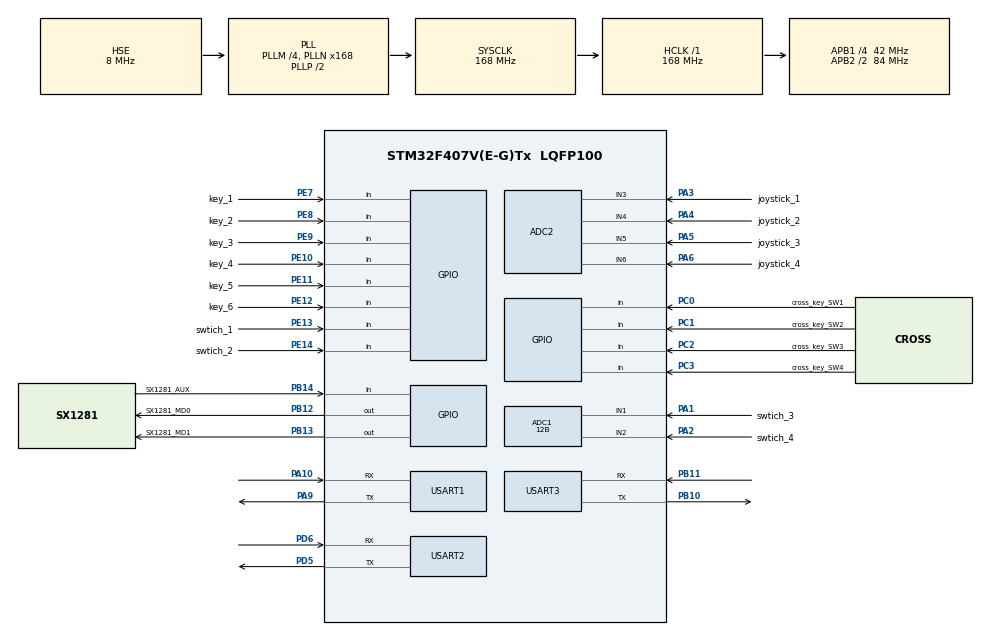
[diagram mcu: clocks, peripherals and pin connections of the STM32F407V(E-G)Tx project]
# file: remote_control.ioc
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ADC1.Channel-3\#ChannelRegularConversion=ADC_CHANNEL_1
ADC1.Channel-4\#ChannelRegularConversion=ADC_CHANNEL_2
ADC1.ClockPrescaler=ADC_CLOCK_SYNC_PCLK_DIV4
ADC1.DMAContinuousRequests=ENABLE
ADC1.ExternalTrigConv=ADC_EXTERNALTRIGCONV_T3_TRGO
ADC1.NbrOfConversion=2
ADC1.NbrOfConversionFlag=1
ADC1.Rank-3\#ChannelRegularConversion=1
ADC1.Rank-4\#ChannelRegularConversion=2
ADC1.Resolution=ADC_RESOLUTION_12B
ADC1.SamplingTime-3\#ChannelRegularConversion=ADC_SAMPLETIME_3CYCLES
ADC1.SamplingTime-4\#ChannelRegularConversion=ADC_SAMPLETIME_3CYCLES
ADC1.ScanConvMode=ENABLE
ADC1.master=1
ADC2.Channel-1\#ChannelRegularConversion=ADC_CHANNEL_3
ADC2.Channel-2\#ChannelRegularConversion=ADC_CHANNEL_4
ADC2.Channel-3\#ChannelRegularConversion=ADC_CHANNEL_5
ADC2.Channel-4\#ChannelRegularConversion=ADC_CHANNEL_6
ADC2.ClockPrescaler=ADC_CLOCK_SYNC_PCLK_DIV4
ADC2.DMAContinuousRequests=ENABLE
ADC2.ExternalTrigConv=ADC_EXTERNALTRIGCONV_T3_TRGO
ADC2.NbrOfConversion=4
ADC2.NbrOfConversionFlag=1
ADC2.Rank-1\#ChannelRegularConversion=1
ADC2.Rank-2\#ChannelRegularConversion=2
ADC2.Rank-3\#ChannelRegularConversion=3
ADC2.Rank-4\#ChannelRegularConversion=4
ADC2.SamplingTime-1\#ChannelRegularConversion=ADC_SAMPLETIME_3CYCLES
ADC2.SamplingTime-2\#ChannelRegularConversion=ADC_SAMPLETIME_3CYCLES
ADC2.SamplingTime-3\#ChannelRegularConversion=ADC_SAMPLETIME_3CYCLES
ADC2.SamplingTime-4\#ChannelRegularConversion=ADC_SAMPLETIME_3CYCLES
ADC2.ScanConvMode=ENABLE
Dma.ADC1.4.Direction=DMA_PERIPH_TO_MEMORY
Dma.ADC1.4.FIFOMode=DMA_FIFOMODE_DISABLE
Dma.ADC1.4.Instance=DMA2_Stream0
Dma.ADC1.4.MemDataAlignment=DMA_MDATAALIGN_HALFWORD
Dma.ADC1.4.MemInc=DMA_MINC_ENABLE
Dma.ADC1.4.Mode=DMA_CIRCULAR
Dma.ADC1.4.PeriphDataAlignment=DMA_PDATAALIGN_HALFWORD
Dma.ADC1.4.PeriphInc=DMA_PINC_DISABLE
Dma.ADC1.4.Priority=DMA_PRIORITY_LOW
Dma.ADC2.5.Direction=DMA_PERIPH_TO_MEMORY
Dma.ADC2.5.FIFOMode=DMA_FIFOMODE_DISABLE
Dma.ADC2.5.Instance=DMA2_Stream2
Dma.ADC2.5.MemDataAlignment=DMA_MDATAALIGN_HALFWORD
Dma.ADC2.5.MemInc=DMA_MINC_ENABLE
Dma.ADC2.5.Mode=DMA_CIRCULAR
Dma.ADC2.5.PeriphDataAlignment=DMA_PDATAALIGN_HALFWORD
Dma.ADC2.5.PeriphInc=DMA_PINC_DISABLE
Dma.ADC2.5.Priority=DMA_PRIORITY_LOW
Dma.Request0=USART2_RX
Dma.Request1=USART2_TX
Dma.Request2=USART3_RX
Dma.Request3=USART3_TX
Dma.Request4=ADC1
Dma.Request5=ADC2
Dma.USART2_RX.0.Direction=DMA_PERIPH_TO_MEMORY
Dma.USART2_RX.0.FIFOMode=DMA_FIFOMODE_DISABLE
Dma.USART2_RX.0.Instance=DMA1_Stream5
Dma.USART2_RX.0.MemDataAlignment=DMA_MDATAALIGN_BYTE
Dma.USART2_RX.0.MemInc=DMA_MINC_ENABLE
Dma.USART2_RX.0.Mode=DMA_NORMAL
Dma.USART2_RX.0.PeriphDataAlignment=DMA_PDATAALIGN_BYTE
Dma.USART2_RX.0.PeriphInc=DMA_PINC_DISABLE
Dma.USART2_RX.0.Priority=DMA_PRIORITY_LOW
Dma.USART2_TX.1.Direction=DMA_MEMORY_TO_PERIPH
Dma.USART2_TX.1.FIFOMode=DMA_FIFOMODE_DISABLE
Dma.USART2_TX.1.Instance=DMA1_Stream6
Dma.USART2_TX.1.MemDataAlignment=DMA_MDATAALIGN_BYTE
Dma.USART2_TX.1.MemInc=DMA_MINC_ENABLE
Dma.USART2_TX.1.Mode=DMA_NORMAL
Dma.USART2_TX.1.PeriphDataAlignment=DMA_PDATAALIGN_BYTE
Dma.USART2_TX.1.PeriphInc=DMA_PINC_DISABLE
Dma.USART2_TX.1.Priority=DMA_PRIORITY_LOW
Dma.USART3_RX.2.Direction=DMA_PERIPH_TO_MEMORY
Dma.USART3_RX.2.FIFOMode=DMA_FIFOMODE_DISABLE
Dma.USART3_RX.2.Instance=DMA1_Stream1
Dma.USART3_RX.2.MemDataAlignment=DMA_MDATAALIGN_BYTE
Dma.USART3_RX.2.MemInc=DMA_MINC_ENABLE
Dma.USART3_RX.2.Mode=DMA_NORMAL
Dma.USART3_RX.2.PeriphDataAlignment=DMA_PDATAALIGN_BYTE
Dma.USART3_RX.2.PeriphInc=DMA_PINC_DISABLE
Dma.USART3_RX.2.Priority=DMA_PRIORITY_LOW
Dma.USART3_TX.3.Direction=DMA_MEMORY_TO_PERIPH
Dma.USART3_TX.3.FIFOMode=DMA_FIFOMODE_DISABLE
Dma.USART3_TX.3.Instance=DMA1_Stream3
Dma.USART3_TX.3.MemDataAlignment=DMA_MDATAALIGN_BYTE
Dma.USART3_TX.3.MemInc=DMA_MINC_ENABLE
Dma.USART3_TX.3.Mode=DMA_NORMAL
Dma.USART3_TX.3.PeriphDataAlignment=DMA_PDATAALIGN_BYTE
Dma.USART3_TX.3.PeriphInc=DMA_PINC_DISABLE
Dma.USART3_TX.3.Priority=DMA_PRIORITY_LOW
FREERTOS.Tasks01=defaultTask,24,128,StartDefaultTask,Default,NULL,Dynamic,NULL,NULL;Display,8,128,Display_task,Default,NULL,Dynamic,NULL,NULL;Communication,8,128,Communication_task,Default,NULL,Dynamic,NULL,NULL;Button,8,128,Button_task,Default,NULL,Dynamic,NULL,NULL
Mcu.Family=STM32F4
Mcu.Name=STM32F407V(E-G)Tx
Mcu.Package=LQFP100
NVIC.DMA1_Stream1_IRQn=true\:5\:0\:false\:false\:true\:true\:false\:true\:true
NVIC.DMA1_Stream3_IRQn=true\:5\:0\:false\:false\:true\:true\:false\:true\:true
NVIC.DMA1_Stream5_IRQn=true\:5\:0\:false\:false\:true\:true\:false\:true\:true
NVIC.DMA1_Stream6_IRQn=true\:5\:0\:false\:false\:true\:true\:false\:true\:true
NVIC.DMA2_Stream0_IRQn=true\:5\:0\:false\:false\:true\:true\:false\:true\:true
NVIC.DMA2_Stream2_IRQn=true\:5\:0\:false\:false\:true\:true\:false\:true\:true
NVIC.PriorityGroup=NVIC_PRIORITYGROUP_4
NVIC.TIM1_UP_TIM10_IRQn=true\:5\:0\:false\:false\:true\:true\:true\:true\:true
NVIC.TIM2_IRQn=true\:15\:0\:false\:false\:true\:false\:false\:true\:true
NVIC.TimeBase=TIM2_IRQn
NVIC.TimeBaseIP=TIM2
NVIC.USART2_IRQn=true\:5\:0\:false\:false\:true\:true\:false\:true\:true
NVIC.USART3_IRQn=true\:5\:0\:false\:false\:true\:true\:false\:true\:true
PA1.GPIO_Label=swtich_3
PA1.Signal=ADCx_IN1
PA10.Mode=Asynchronous
PA10.Signal=USART1_RX
PA13.Mode=Serial_Wire
PA13.Signal=SYS_JTMS-SWDIO
PA14.Mode=Serial_Wire
PA14.Signal=SYS_JTCK-SWCLK
PA2.GPIO_Label=swtich_4
PA2.Signal=ADCx_IN2
PA3.GPIO_Label=joystick_1
PA3.Signal=ADCx_IN3
PA4.GPIO_Label=joystick_2
PA4.Signal=ADCx_IN4
PA5.GPIO_Label=joystick_3
PA5.Signal=ADCx_IN5
PA6.GPIO_Label=joystick_4
PA6.Signal=ADCx_IN6
PA9.Mode=Asynchronous
PA9.Signal=USART1_TX
PB10.Mode=Asynchronous
PB10.Signal=USART3_TX
PB11.Mode=Asynchronous
PB11.Signal=USART3_RX
PB12.GPIO_Label=SX1281_MD0
PB12.Signal=GPIO_Output
PB13.GPIO_Label=SX1281_MD1
PB13.Signal=GPIO_Output
PB14.GPIO_Label=SX1281_AUX
PB14.GPIO_Mode=GPIO_MODE_INPUT
PB14.GPIO_PuPd=GPIO_PULLDOWN
PB14.Signal=GPIO_Input
PC0.GPIO_Label=cross_key_SW1
PC0.GPIO_PuPd=GPIO_PULLDOWN
PC0.Signal=GPIO_Input
PC1.GPIO_Label=cross_key_SW2
PC1.GPIO_PuPd=GPIO_PULLDOWN
PC1.Signal=GPIO_Input
PC2.GPIO_Label=cross_key_SW3
PC2.GPIO_PuPd=GPIO_PULLDOWN
PC2.Signal=GPIO_Input
PC3.GPIO_Label=cross_key_SW4
PC3.GPIO_PuPd=GPIO_PULLDOWN
PC3.Signal=GPIO_Input
PD5.Mode=Asynchronous
PD5.Signal=USART2_TX
PD6.Mode=Asynchronous
PD6.Signal=USART2_RX
PE10.GPIO_Label=key_4
PE10.GPIO_PuPd=GPIO_PULLDOWN
PE10.Signal=GPIO_Input
PE11.GPIO_Label=key_5
PE11.GPIO_PuPd=GPIO_PULLDOWN
PE11.Signal=GPIO_Input
PE12.GPIO_Label=key_6
PE12.GPIO_PuPd=GPIO_PULLDOWN
PE12.Signal=GPIO_Input
PE13.GPIO_Label=swtich_1
PE13.GPIO_PuPd=GPIO_PULLDOWN
PE13.Signal=GPIO_Input
PE14.GPIO_Label=swtich_2
PE14.GPIO_PuPd=GPIO_PULLDOWN
PE14.Signal=GPIO_Input
PE7.GPIO_Label=key_1
PE7.GPIO_PuPd=GPIO_PULLDOWN
PE7.Signal=GPIO_Input
PE8.GPIO_Label=key_2
PE8.GPIO_PuPd=GPIO_PULLDOWN
PE8.Signal=GPIO_Input
PE9.GPIO_Label=key_3
PE9.GPIO_PuPd=GPIO_PULLDOWN
PE9.Signal=GPIO_Input
PH0-OSC_IN.Mode=HSE-External-Oscillator
PH0-OSC_IN.Signal=RCC_OSC_IN
PH1-OSC_OUT.Mode=HSE-External-Oscillator
PH1-OSC_OUT.Signal=RCC_OSC_OUT
ProjectManager.HeapSize=0x200
ProjectManager.StackSize=0x400
ProjectManager.TargetToolchain=MDK-ARM V5.32
RCC.48MHZClocksFreq_Value=84000000
RCC.AHBFreq_Value=168000000
RCC.APB1CLKDivider=RCC_HCLK_DIV4
RCC.APB1Freq_Value=42000000
RCC.APB1TimFreq_Value=84000000
RCC.APB2CLKDivider=RCC_HCLK_DIV2
RCC.APB2Freq_Value=84000000
RCC.APB2TimFreq_Value=168000000
RCC.CortexFreq_Value=168000000
RCC.HCLKFreq_Value=168000000
RCC.HSE_VALUE=8000000
RCC.HSI_VALUE=16000000
RCC.LSE_VALUE=32768
RCC.PLLM=4
RCC.PLLN=168
RCC.PLLSourceVirtual=RCC_PLLSOURCE_HSE
RCC.SYSCLKFreq_VALUE=168000000
RCC.SYSCLKSource=RCC_SYSCLKSOURCE_PLLCLK
RCC.VCOOutputFreq_Value=336000000
SH.ADCx_IN1.0=ADC1_IN1,IN1
SH.ADCx_IN2.0=ADC1_IN2,IN2
SH.ADCx_IN3.0=ADC2_IN3,IN3
SH.ADCx_IN4.0=ADC2_IN4,IN4
SH.ADCx_IN5.0=ADC2_IN5,IN5
SH.ADCx_IN6.0=ADC2_IN6,IN6
TIM1.Period=300-1
TIM1.Prescaler=16800-1
TIM3.Channel-PWM\ Generation4\ No\ Output=TIM_CHANNEL_4
TIM3.TIM_MasterOutputTrigger=TIM_TRGO_UPDATE
USART1.VirtualMode=VM_ASYNC
USART2.VirtualMode=VM_ASYNC
USART3.VirtualMode=VM_ASYNC
VP_FREERTOS_VS_CMSIS_V2.Mode=CMSIS_V2
VP_SYS_VS_tim2.Mode=TIM2
VP_TIM1_VS_ClockSourceINT.Mode=Internal
VP_TIM3_VS_no_output4.Mode=PWM Generation4 No Output
board=custom

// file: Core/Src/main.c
/* USER CODE BEGIN Header */
/**
  ******************************************************************************
  * @file           : main.c
  * @brief          : Main program body
  ******************************************************************************
  * @attention
  *
  * Copyright (c) 2026 STMicroelectronics.
  * All rights reserved.
  *
  * This software is licensed under terms that can be found in the LICENSE file
  * in the root directory of this software component.
  * If no LICENSE file comes with this software, it is provided AS-IS.
  *
  ******************************************************************************
  */
/* USER CODE END Header */
#include "main.h"
#include "cmsis_os.h"
#include "adc.h"
#include "dma.h"
#include "tim.h"
#include "usart.h"
#include "gpio.h"

/* USER CODE BEGIN Includes */
#include "communication.h"
#include "joystick.h"
#include "key.h"
#include "tjc_huart_hmi.h"
/* USER CODE END Includes */

void SystemClock_Config(void);
void MX_FREERTOS_Init(void);

int main(void)
{

  /* MCU Configuration--------------------------------------------------------*/

  /* Reset of all peripherals, Initializes the Flash interface and the Systick. */
  HAL_Init();

  /* Configure the system clock */
  SystemClock_Config();

  /* Initialize all configured peripherals */
  MX_GPIO_Init();
  MX_DMA_Init();
  MX_TIM1_Init();
  MX_USART1_UART_Init();
  MX_USART2_UART_Init();
  MX_USART3_UART_Init();
  MX_ADC1_Init();
  MX_ADC2_Init();
  MX_TIM3_Init();
  /* USER CODE BEGIN 2 */
	HAL_TIM_Base_Start_IT(&htim1);
  /* USER CODE END 2 */

  /* Init scheduler */
  osKernelInitialize();  /* Call init function for freertos objects (in cmsis_os2.c) */
  MX_FREERTOS_Init();

  /* Start scheduler */
  osKernelStart();

  /* We should never get here as control is now taken by the scheduler */

  /* Infinite loop */
  while (1)
  {

  }
}

void SystemClock_Config(void)
{
  RCC_OscInitTypeDef RCC_OscInitStruct = {0};
  RCC_ClkInitTypeDef RCC_ClkInitStruct = {0};

  /** Configure the main internal regulator output voltage
  */
  __HAL_RCC_PWR_CLK_ENABLE();
  __HAL_PWR_VOLTAGESCALING_CONFIG(PWR_REGULATOR_VOLTAGE_SCALE1);

  /** Initializes the RCC Oscillators according to the specified parameters
  * in the RCC_OscInitTypeDef structure.
  */
  RCC_OscInitStruct.OscillatorType = RCC_OSCILLATORTYPE_HSE;
  RCC_OscInitStruct.HSEState = RCC_HSE_ON;
  RCC_OscInitStruct.PLL.PLLState = RCC_PLL_ON;
  RCC_OscInitStruct.PLL.PLLSource = RCC_PLLSOURCE_HSE;
  RCC_OscInitStruct.PLL.PLLM = 4;
  RCC_OscInitStruct.PLL.PLLN = 168;
  RCC_OscInitStruct.PLL.PLLP = RCC_PLLP_DIV2;
  RCC_OscInitStruct.PLL.PLLQ = 4;
  if (HAL_RCC_OscConfig(&RCC_OscInitStruct) != HAL_OK)
  {
    Error_Handler();
  }

  /** Initializes the CPU, AHB and APB buses clocks
  */
  RCC_ClkInitStruct.ClockType = RCC_CLOCKTYPE_HCLK|RCC_CLOCKTYPE_SYSCLK
                              |RCC_CLOCKTYPE_PCLK1|RCC_CLOCKTYPE_PCLK2;
  RCC_ClkInitStruct.SYSCLKSource = RCC_SYSCLKSOURCE_PLLCLK;
  RCC_ClkInitStruct.AHBCLKDivider = RCC_SYSCLK_DIV1;
  RCC_ClkInitStruct.APB1CLKDivider = RCC_HCLK_DIV4;
  RCC_ClkInitStruct.APB2CLKDivider = RCC_HCLK_DIV2;

  if (HAL_RCC_ClockConfig(&RCC_ClkInitStruct, FLASH_LATENCY_5) != HAL_OK)
  {
    Error_Handler();
  }
}

/* USER CODE BEGIN 4 */
void HAL_UARTEx_RxEventCallback(UART_HandleTypeDef *huart, uint16_t size)
{
    Comm_UartRx_Callback_Wrapper(huart, size);
    HMI_UartRx_Callback_Wrapper(huart, size);

}

void HAL_UART_ErrorCallback(UART_HandleTypeDef *huart)
{
    Comm_UartError_Callback_Wrapper(huart);
    HMI_UartTxCplt_Callback_Wrapper(huart);

}

void HAL_UART_TxCpltCallback(UART_HandleTypeDef *huart)
{
    Comm_UartTxCplt_Callback_Wrapper(huart);
    HMI_UartError_Callback_Wrapper(huart);
}

void HAL_ADC_ConvCpltCallback(ADC_HandleTypeDef* hadc)
{
    JOY_AdcConvCplt_Callback_Wrapper(hadc);
    KEY_AdcConvCplt_Callback_Wrapper(hadc);
}
/* USER CODE END 4 */

void HAL_TIM_PeriodElapsedCallback(TIM_HandleTypeDef *htim)
{
  if (htim->Instance == TIM2)
  {
    HAL_IncTick();
  }
  /* USER CODE BEGIN Callback 1 */
  else if (htim->Instance == TIM1)
  {
    // Comm_Timer_Callback_Wrapper();
  }
  /* USER CODE END Callback 1 */
}

void Error_Handler(void)
{
  __disable_irq();
  while (1)
  {
  }
}

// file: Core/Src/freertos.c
/* USER CODE BEGIN Header */
/**
  ******************************************************************************
  * File Name          : freertos.c
  * Description        : Code for freertos applications
  ******************************************************************************
  * @attention
  *
  * Copyright (c) 2026 STMicroelectronics.
  * All rights reserved.
  *
  * This software is licensed under terms that can be found in the LICENSE file
  * in the root directory of this software component.
  * If no LICENSE file comes with this software, it is provided AS-IS.
  *
  ******************************************************************************
  */
/* USER CODE END Header */

#include "FreeRTOS.h"
#include "task.h"
#include "main.h"
#include "cmsis_os.h"

/* USER CODE BEGIN Includes */
#include "adc.h"
#include "communication.h"
#include "button.h"
#include "joystick.h"
#include "key.h"
#include "tjc_huart_hmi.h"
/* USER CODE END Includes */

/* Definitions for defaultTask */
osThreadId_t defaultTaskHandle;
const osThreadAttr_t defaultTask_attributes = {
  .name = "defaultTask",
  .stack_size = 128 * 4,
  .priority = (osPriority_t) osPriorityNormal,
};
/* Definitions for Display */
osThreadId_t DisplayHandle;
const osThreadAttr_t Display_attributes = {
  .name = "Display",
  .stack_size = 128 * 4,
  .priority = (osPriority_t) osPriorityLow,
};
/* Definitions for Communication */
osThreadId_t CommunicationHandle;
const osThreadAttr_t Communication_attributes = {
  .name = "Communication",
  .stack_size = 128 * 4,
  .priority = (osPriority_t) osPriorityLow,
};
/* Definitions for Button */
osThreadId_t ButtonHandle;
const osThreadAttr_t Button_attributes = {
  .name = "Button",
  .stack_size = 128 * 4,
  .priority = (osPriority_t) osPriorityLow,
};

void StartDefaultTask(void *argument);
void Display_task(void *argument);
void Communication_task(void *argument);
void Button_task(void *argument);

void MX_FREERTOS_Init(void); /* (MISRA C 2004 rule 8.1) */

void MX_FREERTOS_Init(void) {

  /* Create the thread(s) */
  /* creation of defaultTask */
  defaultTaskHandle = osThreadNew(StartDefaultTask, NULL, &defaultTask_attributes);

  /* creation of Display */
  DisplayHandle = osThreadNew(Display_task, NULL, &Display_attributes);

  /* creation of Communication */
  CommunicationHandle = osThreadNew(Communication_task, NULL, &Communication_attributes);

  /* creation of Button */
  ButtonHandle = osThreadNew(Button_task, NULL, &Button_attributes);

}

void StartDefaultTask(void *argument)
{
  for(;;)
  {
    osDelay(1);
  }
}

void Display_task(void *argument)
{
  /* USER CODE BEGIN Display_task */
  HMI_Task_Init(&huart2);
  /* Infinite loop */
  for(;;)
  {
    HMI_Task_Loop();
    osDelay(1);
  }
  /* USER CODE END Display_task */
}

void Communication_task(void *argument)
{
  /* USER CODE BEGIN Communication_task */
  /* Infinite loop */
	Communication_Task_Init(&huart3);

  for(;;)
  {
		if(tx_cnt<1000)
		{
			while(HAL_GPIO_ReadPin(GPIOB,GPIO_PIN_14) != GPIO_PIN_SET){}
			if(HAL_GPIO_ReadPin(GPIOB,GPIO_PIN_14) == GPIO_PIN_SET)
			{
					Comm_Timer_Callback_Wrapper();
					tx_cnt++;
//					last_tx_stamp=tx_stamp;
//					tx_stamp=HAL_GetTick();
			}
		}
    Communication_Task_Loop();
    osDelay(1);
  }
  /* USER CODE END Communication_task */
}

void Button_task(void *argument)
{
  /* USER CODE BEGIN Button_task */
  Joystick_Task_Init(&hadc2);
  Key_Task_Init(&hadc1);
  Button_Task_Init();
  /* Infinite loop */
  for(;;)
  {
    Joystick_Task_Loop();
    Key_Task_Loop();
    Button_Task_Loop();
    osDelay(1);
  }
  /* USER CODE END Button_task */
}
